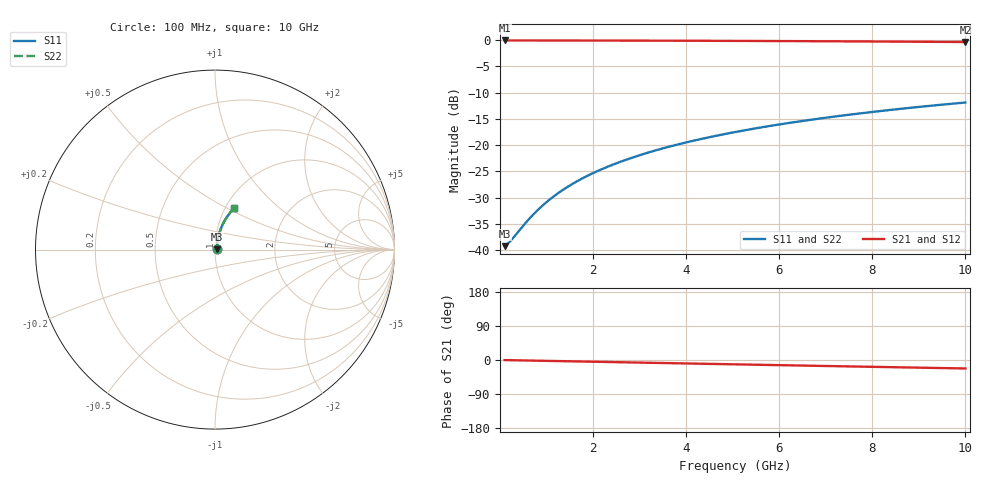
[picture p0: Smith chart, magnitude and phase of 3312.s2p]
# Hz S RI R 50.00
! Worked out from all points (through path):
!   100 points, 100 MHz to 10 GHz, reference 50 ohm
!   highest |S21| = -0.09 dB at 100 MHz (marker M1); lowest = -0.4 dB at 10 GHz (marker M2)
!   group delay of S21, straight-line fit = 6.22 ps
!   lowest |S11| = -39.2 dB at 100 MHz (marker M3), VSWR 1.02, Z = 51.1 + j0.268 ohm
!   |S11| at or under -10 dB: start of sweep to end of sweep
!   |S22| runs from -39.2 to -11.9 dB; largest |S21 - S12| = 0
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1e8  0.0107 0.00262  0.9893 -0.00394  0.9893 -0.00394  0.0107 0.00262
2e8  0.0108 0.00524  0.9892 -0.00787  0.9892 -0.00787  0.0108 0.00524
3e8  0.0109 0.00785  0.9891 -0.0118  0.9891 -0.0118  0.0109 0.00785
6e8  0.0112 0.0157  0.9887 -0.0236  0.9887 -0.0236  0.0112 0.0157
7e8  0.0114 0.0183  0.9885 -0.0275  0.9885 -0.0275  0.0114 0.0183
8e8  0.0116 0.0209  0.9883 -0.0315  0.9883 -0.0315  0.0116 0.0209
1e9  0.012 0.0261  0.9879 -0.0393  0.9879 -0.0393  0.012 0.0261
1.2e9  0.0125 0.0313  0.9874 -0.0472  0.9874 -0.0472  0.0125 0.0313
1.4e9  0.0131 0.0365  0.9867 -0.055  0.9867 -0.055  0.0131 0.0365
1.6e9  0.0137 0.0417  0.986 -0.0628  0.986 -0.0628  0.0137 0.0417
1.8e9  0.0145 0.0469  0.9852 -0.0706  0.9852 -0.0706  0.0145 0.0469
2.1e9  0.0157 0.0546  0.9839 -0.0823  0.9839 -0.0823  0.0157 0.0546
2.5e9  0.0177 0.0649  0.9817 -0.0979  0.9817 -0.0979  0.0177 0.0649
2.9e9  0.0199 0.075  0.9793 -0.1133  0.9793 -0.1133  0.0199 0.075
3.4e9  0.0232 0.0876  0.9757 -0.1325  0.9757 -0.1325  0.0232 0.0876
4.2e9  0.0295 0.1074  0.9689 -0.1629  0.9689 -0.1629  0.0295 0.1074
5.1e9  0.0379 0.129  0.9597 -0.1964  0.9597 -0.1964  0.0379 0.129
5.9e9  0.0467 0.1476  0.9502 -0.2257  0.9502 -0.2257  0.0467 0.1476
6.7e9  0.0565 0.1655  0.9395 -0.2542  0.9395 -0.2542  0.0565 0.1655
7.5e9  0.0673 0.1827  0.9276 -0.282  0.9276 -0.282  0.0673 0.1827
8.4e9  0.0807 0.201  0.913 -0.3124  0.913 -0.3124  0.0807 0.201
1e10  0.107 0.2308  0.8839 -0.3636  0.8839 -0.3636  0.107 0.2308
